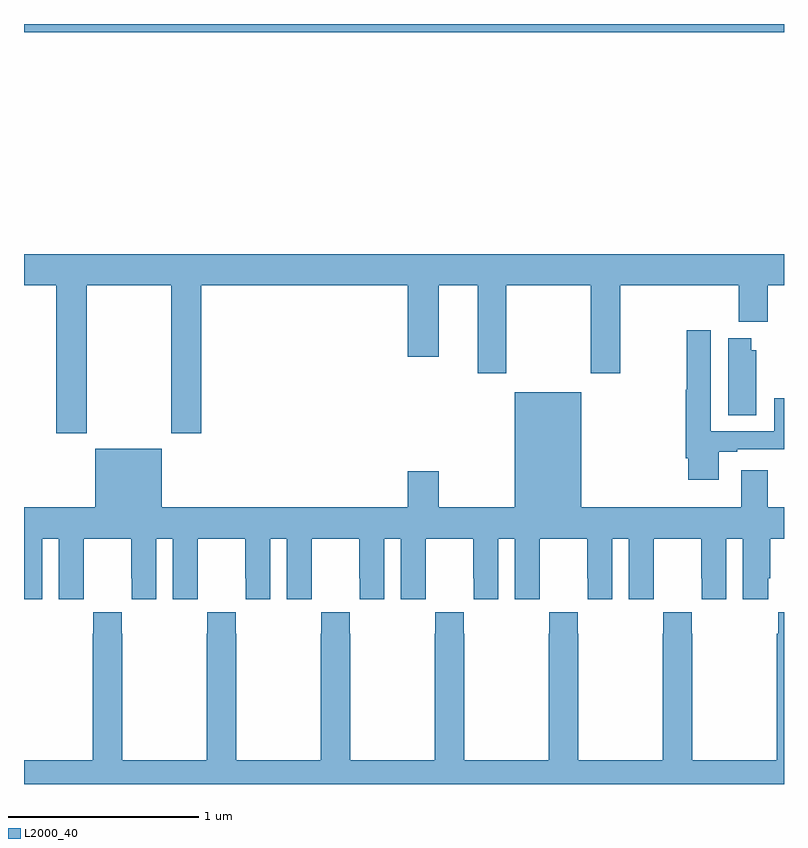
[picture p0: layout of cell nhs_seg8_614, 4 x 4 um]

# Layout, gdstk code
import gdstk
lib = gdstk.Library(unit=1e-6, precision=1e-09)
def R(c, l, rs):  # rectangles x0, y0, x1, y1
    for r in rs: c.add(gdstk.rectangle(r[:2], r[2:], *l))
def P(c, l, *ps):  # polygons
    for p in ps: c.add(gdstk.Polygon(p, *l))
L2000_40 = (2000, 40)

nhs_seg8_614 = lib.new_cell('nhs_seg8_614')
R(nhs_seg8_614, L2000_40, [(151,1093.856,155,1093.9)])
P(nhs_seg8_614, L2000_40, [(151.329,1092.524),(151.774,1092.524),(151.774,1091.745),(151.934,1091.745),(151.934,1092.524),(153.02,1092.524),(153.02,1092.15),(153.184,1092.15),(153.184,1092.524),(153.389,1092.524),(153.389,1092.063),(153.537,1092.063),(153.537,1092.524),(153.982,1092.524),(153.982,1092.063),(154.137,1092.063),(154.137,1092.524),(154.763,1092.524),(154.763,1092.332),(154.915,1092.332),(154.915,1092.524),(155,1092.524),(155,1092.688),(151,1092.688),(151,1092.524),(151.169,1092.524),(151.169,1091.745),(151.329,1091.745)],
  [(154.657,1091.649),(154.753,1091.649),(154.753,1091.661),(155,1091.661),(155,1091.929),(154.949,1091.929),(154.949,1091.757),(154.615,1091.757),(154.615,1092.289),(154.489,1092.289),(154.489,1091.976),(154.484,1091.976),(154.484,1091.614),(154.496,1091.614),(154.496,1091.502),(154.657,1091.502)],
  [(154.855,1092.183),(154.828,1092.183),(154.828,1092.247),(154.706,1092.247),(154.706,1091.842),(154.855,1091.842)],
  [(151.726,1091.665),(151.376,1091.665),(151.376,1091.356),(151,1091.356),(151,1090.872),(151.096,1090.872),(151.096,1091.192),(151.184,1091.192),(151.184,1090.872),(151.314,1090.872),(151.314,1090.984),(151.315,1090.984),(151.315,1091.192),(151.565,1091.192),(151.565,1090.984),(151.566,1090.984),(151.566,1090.872),(151.696,1090.872),(151.696,1091.192),(151.784,1091.192),(151.784,1090.872),(151.914,1090.872),(151.914,1090.984),(151.915,1090.984),(151.915,1091.192),(152.165,1091.192),(152.165,1090.984),(152.166,1090.984),(152.166,1090.872),(152.296,1090.872),(152.296,1091.192),(152.384,1091.192),(152.384,1090.872),(152.514,1090.872),(152.514,1090.984),(152.515,1090.984),(152.515,1091.192),(152.765,1091.192),(152.765,1090.984),(152.766,1090.984),(152.766,1090.872),(152.896,1090.872),(152.896,1091.192),(152.984,1091.192),(152.984,1090.872),(153.114,1090.872),(153.114,1090.984),(153.115,1090.984),(153.115,1091.192),(153.365,1091.192),(153.365,1090.984),(153.366,1090.984),(153.366,1090.872),(153.496,1090.872),(153.496,1091.192),(153.584,1091.192),(153.584,1090.872),(153.714,1090.872),(153.714,1090.984),(153.715,1090.984),(153.715,1091.192),(153.965,1091.192),(153.965,1090.984),(153.966,1090.984),(153.966,1090.872),(154.096,1090.872),(154.096,1091.192),(154.184,1091.192),(154.184,1090.872),(154.314,1090.872),(154.314,1090.984),(154.315,1090.984),(154.315,1091.192),(154.565,1091.192),(154.565,1090.984),(154.566,1090.984),(154.566,1090.872),(154.696,1090.872),(154.696,1091.192),(154.784,1091.192),(154.784,1090.872),(154.918,1090.872),(154.918,1090.984),(154.928,1090.984),(154.928,1091.192),(155,1091.192),(155,1091.356),(154.915,1091.356),(154.915,1091.551),(154.775,1091.551),(154.775,1091.356),(153.934,1091.356),(153.934,1091.962),(153.584,1091.962),(153.584,1091.356),(153.184,1091.356),(153.184,1091.545),(153.02,1091.545),(153.02,1091.356),(151.726,1091.356)],
  [(151.365,1090.804),(151.365,1090.691),(151.363,1090.691),(151.363,1090.024),(151,1090.024),(151,1089.9),(155,1089.9),(155,1090.804),(154.969,1090.804),(154.969,1090.691),(154.963,1090.691),(154.963,1090.024),(154.518,1090.024),(154.518,1090.691),(154.515,1090.691),(154.515,1090.804),(154.365,1090.804),(154.365,1090.691),(154.363,1090.691),(154.363,1090.024),(153.918,1090.024),(153.918,1090.691),(153.915,1090.691),(153.915,1090.804),(153.765,1090.804),(153.765,1090.691),(153.763,1090.691),(153.763,1090.024),(153.318,1090.024),(153.318,1090.691),(153.315,1090.691),(153.315,1090.804),(153.165,1090.804),(153.165,1090.691),(153.163,1090.691),(153.163,1090.024),(152.718,1090.024),(152.718,1090.691),(152.715,1090.691),(152.715,1090.804),(152.565,1090.804),(152.565,1090.691),(152.563,1090.691),(152.563,1090.024),(152.118,1090.024),(152.118,1090.691),(152.115,1090.691),(152.115,1090.804),(151.965,1090.804),(151.965,1090.691),(151.963,1090.691),(151.963,1090.024),(151.518,1090.024),(151.518,1090.691),(151.515,1090.691),(151.515,1090.804)])

lib.write_gds('nhs_seg8_614.gds')
